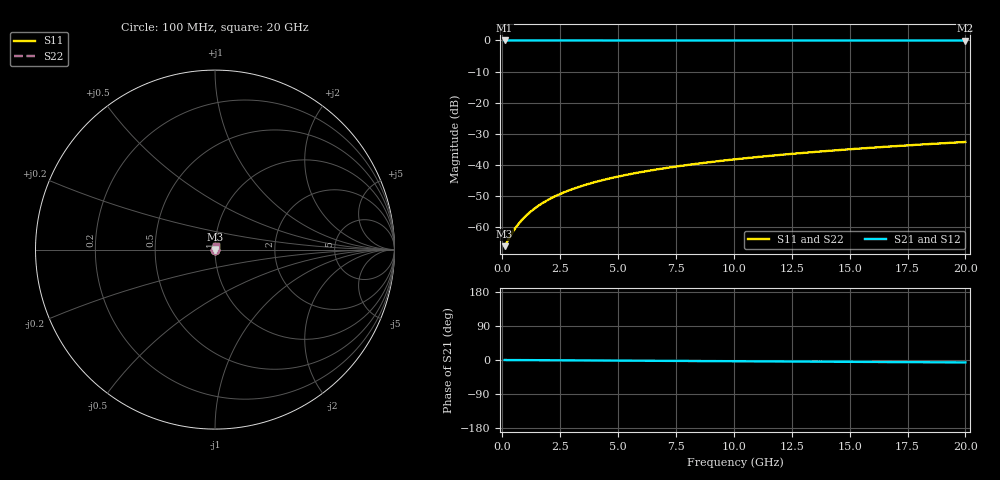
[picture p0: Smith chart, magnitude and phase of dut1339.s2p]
! Touchstone file exported from HFSS 2026.1.0
!  File:  C:/ffzhzh/LocalFiles/Ansys_Project_Files/temp_train_TSV_1339_1783195540_18472.aedt
!  Generated:  04:07:37 AM Jul  5, 2026
!  Design:  TSV
!  Project:  temp_train_TSV_1339_1783195540_18472
! Variables:
!  h_bsmrdl = 2um
!  h_ox = 20um
!  h_rdl = 5um
!  h_sub = 65.34um
!  h_tmrdl = 5um
!  h_tsv = 65.34um
!  h_via = 3um
!  l_bsmrdl = 300um
!  l_sub = 408.32um
!  l_tmrdl = 200um
!  m_sub = 200um
!  pitch = 22.34um
!  r_tsv = 4.16um
!  s_tmrdl = 10um
!  w_bsmrdl = 18um
!  w_sub = 500um
!  w_tmrdl = 12um
!  x_tsv_center1 = 206um
!  x_tsv_center2 = 524um
!  x_tsv_center3 = 736um
!  x_tsv_center4 = 1054um
!  x_tsv_center5 = 1266um
!  x_tsv_center6 = 1584um
# GHz S MA R 50.000000
! Terminal data exported
! Port[1] = TSV1_1_T1
! Port[2] = TSV1_1_T2
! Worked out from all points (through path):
!   200 points, 100 MHz to 20 GHz, reference 50 ohm
!   highest |S21| = 0.00 dB at 100 MHz (marker M1); lowest = 0.0 dB at 20 GHz (marker M2)
!   lowest |S11| = -66.2 dB at 100 MHz (marker M3), VSWR 1.00, Z = 50 + j0.0157 ohm
!   |S11| at or under -10 dB: start of sweep to end of sweep
!   |S22| runs from -66.2 to -32.6 dB; largest |S21 - S12| = 3.2e-15
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0.1  0.0004925 18.6  0.9995 -0.0  0.9995 -0.0  0.0004925 18.6
! Gamma 0 0 0 0
! Port Impedance 50 0 50 0
0.4  0.0007764 48.6  0.9995 -0.1  0.9995 -0.1  0.0007764 48.6
0.5  0.0008877 53.6  0.9995 -0.2  0.9995 -0.2  0.0008877 53.6
0.7  0.00112 60.8  0.9995 -0.2  0.9995 -0.2  0.00112 60.8
0.8  0.001241 63.3  0.9994 -0.3  0.9994 -0.3  0.001241 63.3
1  0.001487 67.3  0.9994 -0.3  0.9994 -0.3  0.001487 67.3
1.2  0.001738 70.0  0.9994 -0.4  0.9994 -0.4  0.001738 70.0
1.4  0.001993 72.0  0.9994 -0.5  0.9994 -0.5  0.001993 72.0
1.8  0.002506 74.7  0.9994 -0.6  0.9994 -0.6  0.002506 74.7
2.3  0.003148 76.6  0.9993 -0.8  0.9993 -0.8  0.003148 76.6
2.9  0.00391 77.8  0.9992 -1.0  0.9992 -1.0  0.00391 77.8
3.5  0.00466 78.4  0.9991 -1.2  0.9991 -1.2  0.00466 78.4
4.2  0.00552 78.8  0.999 -1.4  0.999 -1.4  0.00552 78.8
5  0.006481 79.1  0.9989 -1.6  0.9989 -1.6  0.006481 79.1
5.9  0.007542 79.3  0.9988 -1.9  0.9988 -1.9  0.007542 79.3
6.8  0.008585 79.3  0.9987 -2.2  0.9987 -2.2  0.008585 79.3
8.3  0.0103 79.4  0.9985 -2.7  0.9985 -2.7  0.0103 79.4
10.1  0.01233 79.4  0.9984 -3.3  0.9984 -3.3  0.01233 79.4
11.7  0.01412 79.4  0.9982 -3.8  0.9982 -3.8  0.01412 79.4
13.4  0.01602 79.2  0.9981 -4.3  0.9981 -4.3  0.01602 79.2
16.7  0.01968 78.8  0.9978 -5.4  0.9978 -5.4  0.01968 78.8
20  0.02331 78.1  0.9975 -6.4  0.9975 -6.4  0.02331 78.1
